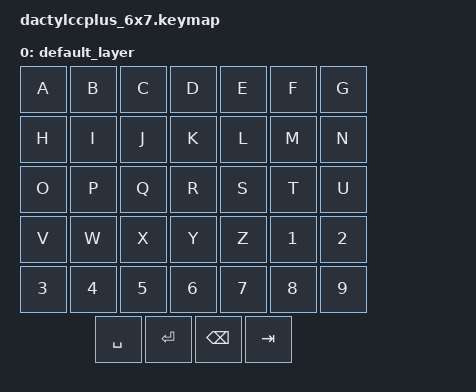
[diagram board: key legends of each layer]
#include <behaviors.dtsi>
#include <dt-bindings/zmk/keys.h>
#include <dt-bindings/zmk/bt.h>
#include <dt-bindings/zmk/outputs.h>

#define DEFAULT 0
#define LWR 1
#define RSE 2
#define ADJ 3

/ {
    keymap {
        compatible = "zmk,keymap";

        default_layer {
            bindings = <
                &kp A   &kp B   &kp C   &kp D   &kp E   &kp F   &kp G             /* &kp N6 &kp N7 &kp N8    &kp N9  &kp N0   &kp BSPC*/
                &kp H   &kp I   &kp J   &kp K   &kp L   &kp M   &kp N             /*  &kp Y  &kp U  &kp I     &kp O   &kp P    &kp MINUS*/
                 &kp O   &kp P   &kp Q   &kp R   &kp S   &kp T   &kp U            /*   &kp H  &kp J  &kp K     &kp L   &kp SEMI &kp SQT*/
                 &kp V   &kp W   &kp X   &kp Y   &kp Z   &kp N1  &kp N2           /*    &kp N  &kp M  &kp COMMA &kp DOT &kp FSLH &kp BSLH*/
                  &kp N3  &kp N4  &kp N5  &kp N6  &kp N7  &kp N8  &kp N9          /*       &kp PLUS &kp EQUAL*/
                   &kp SPACE &kp ENTER &kp BSPC &kp TAB                           /*  &kp RET  &kp RSE*/
                                                                                  /*&kp END  &kp DEL*/
                                                                                  /*&kp LGUI &kp LALT*/
            >;
        };
};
